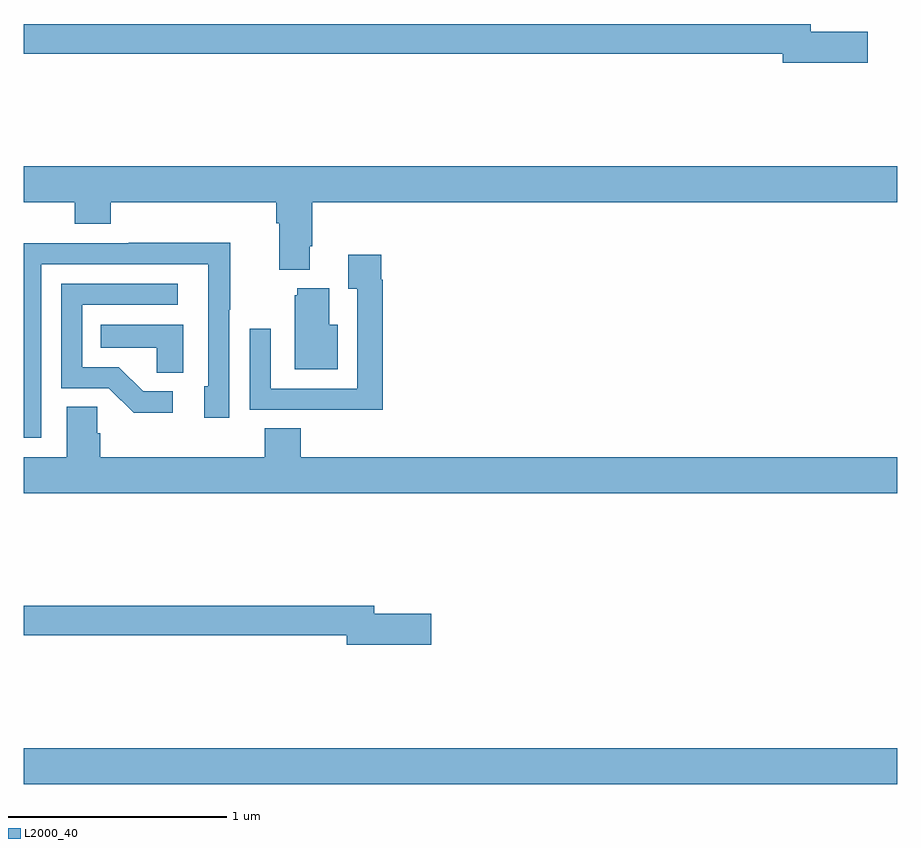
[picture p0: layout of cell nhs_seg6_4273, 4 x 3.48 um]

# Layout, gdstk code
import gdstk
lib = gdstk.Library(unit=1e-6, precision=1e-09)
def R(c, l, rs):  # rectangles x0, y0, x1, y1
    for r in rs: c.add(gdstk.rectangle(r[:2], r[2:], *l))
def P(c, l, *ps):  # polygons
    for p in ps: c.add(gdstk.Polygon(p, *l))
L2000_40 = (2000, 40)

nhs_seg6_4273 = lib.new_cell('nhs_seg6_4273')
R(nhs_seg6_4273, L2000_40, [(363,946.004,367,946.168)])
P(nhs_seg6_4273, L2000_40, [(366.865,949.448),(366.604,949.448),(366.604,949.484),(363,949.484),(363,949.348),(366.476,949.348),(366.476,949.306),(366.865,949.306)],
  [(364.309,948.466),(364.322,948.466),(364.322,948.668),(367,948.668),(367,948.832),(363,948.832),(363,948.668),(363.233,948.668),(363.233,948.569),(363.398,948.569),(363.398,948.668),(364.157,948.668),(364.157,948.572),(364.169,948.572),(364.169,948.359),(364.309,948.359)],
  [(363.081,948.384),(363.846,948.384),(363.846,947.826),(363.827,947.826),(363.827,947.682),(363.942,947.682),(363.942,948.175),(363.945,948.175),(363.945,948.482),(363.481,948.482),(363.481,948.48),(363,948.48),(363,947.589),(363.081,947.589)],
  [(364.643,948.314),(364.636,948.314),(364.636,948.427),(364.487,948.427),(364.487,948.271),(364.527,948.271),(364.527,947.814),(364.131,947.814),(364.131,948.088),(364.035,948.088),(364.035,947.718),(364.351,947.718),(364.351,947.717),(364.643,947.717)],
  [(363.682,947.802),(363.547,947.802),(363.436,947.913),(363.267,947.913),(363.267,948.198),(363.706,948.198),(363.706,948.294),(363.171,948.294),(363.171,947.817),(363.39,947.817),(363.503,947.705),(363.682,947.705)],
  [(364.438,948.106),(364.399,948.106),(364.399,948.274),(364.253,948.274),(364.253,948.243),(364.241,948.243),(364.241,947.903),(364.438,947.903)],
  [(363.73,948.106),(363.352,948.106),(363.352,948.002),(363.609,948.002),(363.609,947.887),(363.73,947.887)],
  [(367,947.5),(364.268,947.5),(364.268,947.633),(364.103,947.633),(364.103,947.5),(363.35,947.5),(363.35,947.609),(363.336,947.609),(363.336,947.732),(363.197,947.732),(363.197,947.5),(363,947.5),(363,947.336),(367,947.336)],
  [(364.867,946.784),(364.606,946.784),(364.606,946.82),(363,946.82),(363,946.684),(364.478,946.684),(364.478,946.642),(364.867,946.642)])

lib.write_gds('nhs_seg6_4273.gds')
